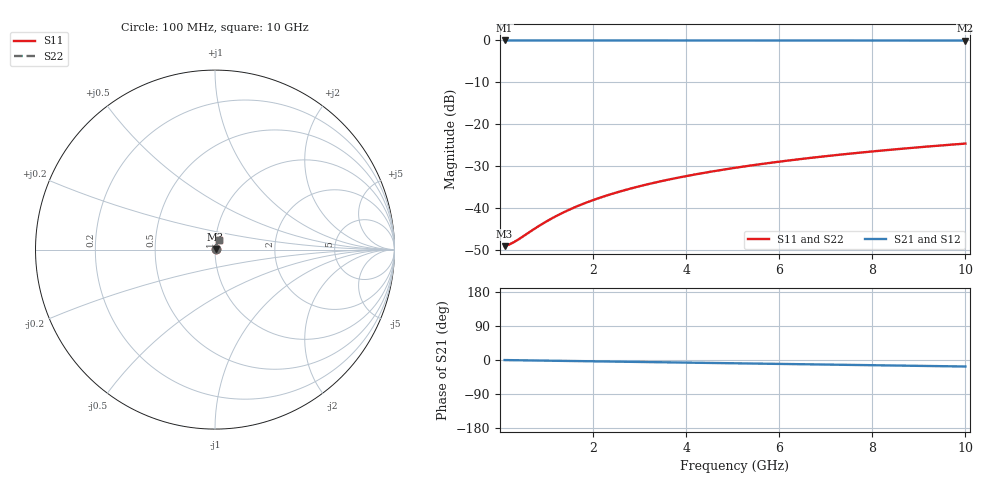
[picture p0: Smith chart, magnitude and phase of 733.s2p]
# Hz S RI R 50.00
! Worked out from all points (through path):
!   100 points, 100 MHz to 10 GHz, reference 50 ohm
!   highest |S21| = -0.03 dB at 100 MHz (marker M1); lowest = -0.1 dB at 10 GHz (marker M2)
!   group delay of S21, straight-line fit = 4.77 ps
!   lowest |S11| = -49.0 dB at 100 MHz (marker M3), VSWR 1.01, Z = 50.3 + j0.0592 ohm
!   |S11| at or under -10 dB: start of sweep to end of sweep
!   |S22| runs from -49.0 to -24.6 dB; largest |S21 - S12| = 0
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1e8  0.00349 0.000588  0.9965 -0.00299  0.9965 -0.00299  0.00349 0.000588
2e8  0.00351 0.00118  0.9965 -0.00597  0.9965 -0.00597  0.00351 0.00118
3e8  0.00354 0.00176  0.9964 -0.00896  0.9964 -0.00896  0.00354 0.00176
4e8  0.00356 0.00235  0.9964 -0.0119  0.9964 -0.0119  0.00356 0.00235
8e8  0.00369 0.0047  0.9961 -0.0239  0.9961 -0.0239  0.00369 0.0047
1.1e9  0.00381 0.00646  0.9958 -0.0329  0.9958 -0.0329  0.00381 0.00646
1.4e9  0.00395 0.00821  0.9954 -0.0418  0.9954 -0.0418  0.00395 0.00821
1.6e9  0.00407 0.00938  0.9952 -0.0478  0.9952 -0.0478  0.00407 0.00938
1.8e9  0.0042 0.0106  0.9948 -0.0537  0.9948 -0.0537  0.0042 0.0106
2.1e9  0.00442 0.0123  0.9943 -0.0627  0.9943 -0.0627  0.00442 0.0123
2.5e9  0.00476 0.0146  0.9934 -0.0746  0.9934 -0.0746  0.00476 0.0146
2.9e9  0.00515 0.0169  0.9924 -0.0865  0.9924 -0.0865  0.00515 0.0169
3.4e9  0.00572 0.0198  0.9909 -0.1014  0.9909 -0.1014  0.00572 0.0198
3.8e9  0.00624 0.0221  0.9895 -0.1132  0.9895 -0.1132  0.00624 0.0221
4.2e9  0.00681 0.0244  0.988 -0.1251  0.988 -0.1251  0.00681 0.0244
4.6e9  0.00743 0.0266  0.9864 -0.1369  0.9864 -0.1369  0.00743 0.0266
5.1e9  0.00829 0.0294  0.9841 -0.1517  0.9841 -0.1517  0.00829 0.0294
5.9e9  0.00984 0.0339  0.98 -0.1752  0.98 -0.1752  0.00984 0.0339
6.7e9  0.0116 0.0382  0.9753 -0.1986  0.9753 -0.1986  0.0116 0.0382
7.5e9  0.0136 0.0425  0.97 -0.2219  0.97 -0.2219  0.0136 0.0425
8.4e9  0.016 0.0471  0.9634 -0.2479  0.9634 -0.2479  0.016 0.0471
1e10  0.021 0.0551  0.9499 -0.2936  0.9499 -0.2936  0.021 0.0551
